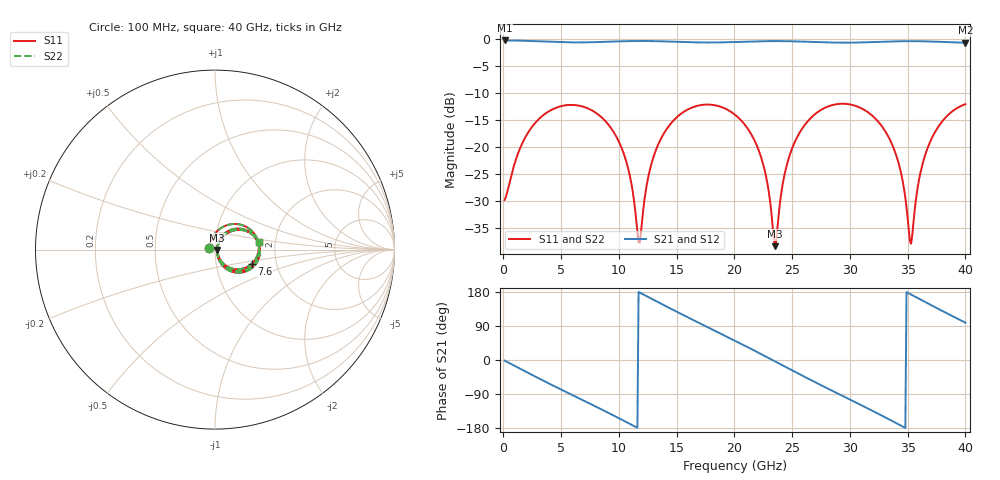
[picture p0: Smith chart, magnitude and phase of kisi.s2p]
! thru_BV_ts_refinout2_q050_in: 2×thru F.Cu, 8 mm
! stackup: as the board case
! ports: 1 near, 2 far
! kisi-fdtd, conformal, dfine 0.05 mm, 688500 cells
# Hz S RI R 50
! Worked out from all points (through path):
!   400 points, 100 MHz to 40 GHz, reference 50 ohm
!   highest |S21| = -0.31 dB at 100 MHz (marker M1); lowest = -0.7 dB at 40 GHz (marker M2)
!   group delay of S21, straight-line fit = 43.1 ps
!   lowest |S11| = -38.3 dB at 23.5 GHz (marker M3), VSWR 1.02, Z = 51.2 - j0.198 ohm
!   |S11| at or under -10 dB: start of sweep to end of sweep
!   |S22| runs from -38.3 to -12.0 dB; largest |S21 - S12| = 0
!   S11 on the Smith chart (normalised r, x): 100 MHz: 0.94, +0.01; 7.6 GHz: 1.49, -0.25; 40 GHz: 1.64, +0.14
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1e8  -0.0315 0.00744  0.964 -0.0269  0.964 -0.0269  -0.0315 0.00744
2.6e9  0.0783 0.1392  0.7145 -0.6278  0.7145 -0.6278  0.0783 0.1392
6.8e9  0.2348 -0.036  -0.2378 -0.8944  -0.2378 -0.8944  0.2348 -0.036
7.6e9  0.2052 -0.0784  -0.4195 -0.8283  -0.4195 -0.8283  0.2052 -0.0784
1.04e10  0.0448 -0.0756  -0.8914 -0.325  -0.8914 -0.325  0.0448 -0.0756
1.11e10  0.021 -0.0393  -0.9405 -0.1482  -0.9405 -0.1482  0.021 -0.0393
1.17e10  0.0128 -0.00299  -0.9534 0.00979  -0.9534 0.00979  0.0128 -0.00299
1.25e10  0.0209 0.0458  -0.9272 0.2196  -0.9272 0.2196  0.0209 0.0458
1.34e10  0.0538 0.0907  -0.841 0.4397  -0.841 0.4397  0.0538 0.0907
1.67e10  0.2323 0.0552  -0.1848 0.9074  -0.1848 0.9074  0.2323 0.0552
2.01e10  0.1582 -0.1168  0.5978 0.7167  0.5978 0.7167  0.1582 -0.1168
2.24e10  0.031 -0.0681  0.9198 0.2324  0.9198 0.2324  0.031 -0.0681
2.35e10  0.012 -0.00193  0.9498 -0.056  0.9498 -0.056  0.012 -0.00193
2.46e10  0.0339 0.0638  0.8866 -0.3397  0.8866 -0.3397  0.0339 0.0638
2.67e10  0.1536 0.1107  0.5485 -0.7574  0.5485 -0.7574  0.1536 0.1107
3e10  0.2412 -0.0554  -0.2274 -0.8921  -0.2274 -0.8921  0.2412 -0.0554
3.34e10  0.0593 -0.105  -0.8667 -0.3715  -0.8667 -0.3715  0.0593 -0.105
3.45e10  0.0188 -0.0494  -0.9445 -0.0924  -0.9445 -0.0924  0.0188 -0.0494
3.53e10  0.0127 0.000939  -0.9425 0.1213  -0.9425 0.1213  0.0127 0.000939
3.59e10  0.0226 0.0382  -0.9075 0.2781  -0.9075 0.2781  0.0226 0.0382
3.68e10  0.0585 0.0841  -0.8052 0.4939  -0.8052 0.4939  0.0585 0.0841
4e10  0.2454 0.04  -0.1369 0.9088  -0.1369 0.9088  0.2454 0.04
